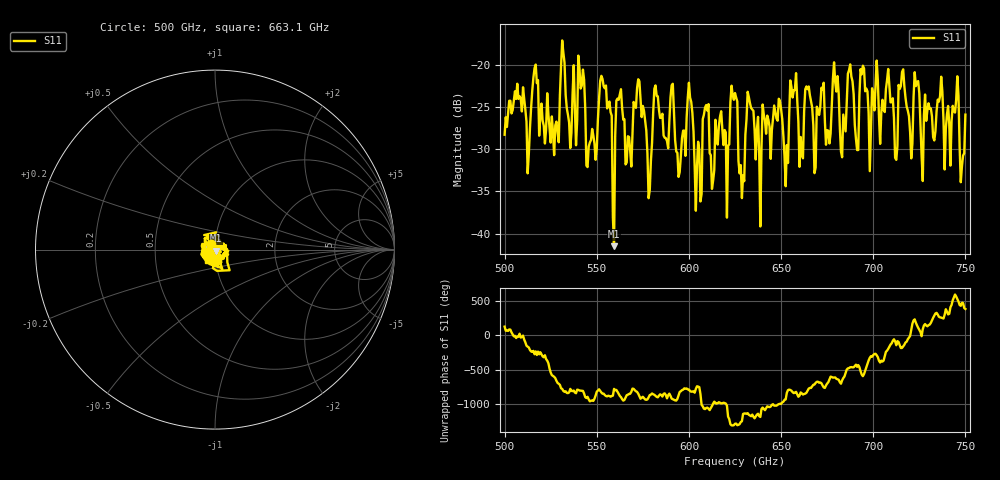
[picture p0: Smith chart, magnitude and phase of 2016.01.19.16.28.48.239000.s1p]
!Created with skrf (http://scikit-rf.org).
# GHz S RI R 50.0
!freq ReS11 ImS11
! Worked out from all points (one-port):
!   401 points, 500 GHz to 750 GHz, reference 50 ohm
!   lowest |S11| = -41.5 dB at 559.4 GHz (marker M1), VSWR 1.02, Z = 50.5 - j0.691 ohm
!   |S11| at or under -10 dB: start of sweep to end of sweep
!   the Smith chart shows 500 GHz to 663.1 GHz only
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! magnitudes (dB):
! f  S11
! 500 GHz  -28.2
! 516.9 GHz  -19.9
! 528.1 GHz  -26.7
! 531.2 GHz  -17.0
! 541.2 GHz  -22.8
! 545.6 GHz  -29.7
! 553.8 GHz  -22.5
! 559.4 GHz  -41.5
! 562.5 GHz  -23.5
! 567.5 GHz  -28.5
! 573.1 GHz  -21.9
! 578.8 GHz  -34.8
! 581.9 GHz  -22.4
! 590.6 GHz  -22.4
! 593.8 GHz  -30.4
! 625 GHz  -23.3
! 628.8 GHz  -35.8
! 632.5 GHz  -23.8
! 652.5 GHz  -34.4
! 656.2 GHz  -23.8
! 660.6 GHz  -28.5
! 679.4 GHz  -22.0
! 683.8 GHz  -25.8
! 687.5 GHz  -19.9
! 690.6 GHz  -28.7
! 694.4 GHz  -20.0
! 718.8 GHz  -25.4
! 750 GHz  -25.9
